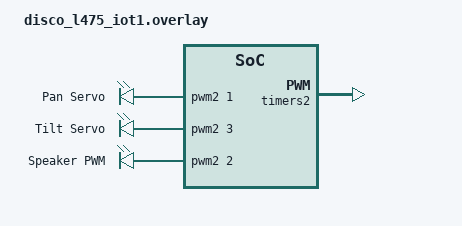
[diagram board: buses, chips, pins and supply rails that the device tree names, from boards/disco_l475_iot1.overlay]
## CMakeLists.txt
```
cmake_minimum_required(VERSION 3.20.0)
find_package(Zephyr REQUIRED HINTS $ENV{ZEPHYR_BASE})
project(csse4011Project)

# Collect all the source files in app/prac3/src
FILE(GLOB app_sources src/*.c)

# Collect all the source files in lib. Note that
# the path given needs to be relative to the
# CMakeLists root, which is app/project here,
# hence the ../../lib.c.
target_sources(app PRIVATE src/main.c)

# Tell CMake where our header files are
target_include_directories(app PRIVATE ../include)
```

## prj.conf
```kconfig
CONFIG_PWM=y
CONFIG_UART_CONSOLE=y
CONFIG_SERIAL=y
CONFIG_SHELL=y
CONFIG_SHELL_BACKEND_SERIAL=y
```

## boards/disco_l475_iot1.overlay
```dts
/ {
    aliases {
        servo-pan = &servo_pan;
        servo-tilt = &servo_tilt;
        speaker-out = &speaker_pwm;
    };

    pwmleds {
        compatible = "pwm-leds";
        status = "okay";

        servo_tilt: tilt_led {
            pwms = <&pwm2 1 PWM_MSEC(20) PWM_POLARITY_NORMAL>;  // PA15 = D9
            label = "Pan Servo";
        };

        servo_pan: pan_led {
            pwms = <&pwm2 3 PWM_MSEC(20) PWM_POLARITY_NORMAL>;  // PA2 = D10
            label = "Tilt Servo";
        };

        speaker_pwm: speaker_out {
            pwms = <&pwm2 2 PWM_USEC(1000) PWM_POLARITY_NORMAL>; // PA1 = D6
            label = "Speaker PWM";
        };
    };
};

&timers2 {
    st,prescaler = <10000>;
    status = "okay";

    pwm2: pwm {
        status = "okay";
        pinctrl-0 = <&tim2_ch1_pa15 &tim2_ch2_pa1 &tim2_ch3_pa2>;
        pinctrl-names = "default";
    };
};
```

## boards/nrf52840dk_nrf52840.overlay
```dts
/ {
    aliases {
        servo-pan = &servo_pan;
        servo-tilt = &servo_tilt;
        speaker-out = &speaker_pwm;
    };

    pwmleds {
        compatible = "pwm-leds";
        status = "okay";

        servo_pan: pan_led {
            pwms = <&pwm0 0 PWM_MSEC(20) PWM_POLARITY_NORMAL>; // P0.13
            label = "Pan Servo";
        };

        servo_tilt: tilt_led {
            pwms = <&pwm0 1 PWM_MSEC(20) PWM_POLARITY_NORMAL>; // P0.14
            label = "Tilt Servo";
        };

        speaker_pwm: speaker_out {
            pwms = <&pwm0 2 PWM_USEC(1000) PWM_POLARITY_NORMAL>; // P0.15
            label = "Speaker PWM";
        };
    };
};

&pwm0 {
    status = "okay";
    pinctrl-0 = <&pwm0_default>;
    pinctrl-1 = <&pwm0_sleep>;
    pinctrl-names = "default", "sleep";
};

&pinctrl {
    pwm0_default: pwm0_default {
        group1 {
            psels = <NRF_PSEL(PWM_OUT0, 0, 13)>,  // P0.13 = Pan
                    <NRF_PSEL(PWM_OUT1, 0, 14)>,  // P0.14 = Tilt
                    <NRF_PSEL(PWM_OUT2, 0, 15)>;  // P0.15 = Speaker
        };
    };

    pwm0_sleep: pwm0_sleep {
        group1 {
            /* No pins set during sleep mode (can leave empty) */
        };
    };
};
```

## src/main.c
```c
#include <zephyr/kernel.h>
#include <zephyr/device.h>
#include <zephyr/drivers/pwm.h>
#include <zephyr/devicetree.h>
#include <zephyr/init.h>
#include <zephyr/bluetooth/bluetooth.h>
#include <zephyr/bluetooth/hci.h>
#include <string.h>
#include <stdlib.h>
#include <math.h>
#include <zephyr/logging/log.h>

LOG_MODULE_REGISTER(nrf, LOG_LEVEL_INF);

#define PWM_PERIOD_USEC 20000

#define PAN_LEFT_USEC   2600
#define PAN_RIGHT_USEC  700
#define PAN_CENTER_USEC 1700

#define TILT_DOWN_USEC  500
#define TILT_UP_USEC    2000
#define TILT_CENTER_USEC 1000

static const struct pwm_dt_spec pan = PWM_DT_SPEC_GET(DT_ALIAS(servo_pan));
static const struct pwm_dt_spec tilt = PWM_DT_SPEC_GET(DT_ALIAS(servo_tilt));
static const struct pwm_dt_spec speaker = PWM_DT_SPEC_GET(DT_ALIAS(speaker_out));

#define STACK_SIZE 2048
#define PRIORITY 5

K_THREAD_STACK_DEFINE(bt_scan_stack, STACK_SIZE);
static struct k_thread bt_scan_thread_data;

struct bt_le_scan_param scan_param = {
    .type     = BT_HCI_LE_SCAN_PASSIVE,
    .options  = BT_LE_SCAN_OPT_NONE,
    .interval = 0x0010,
    .window   = 0x0010,
};

static bool ad_find_mfg(struct bt_data *data, void *user_data)
{
  char *mfg_buf = user_data;
  if (data->type == BT_DATA_MANUFACTURER_DATA) {
    size_t len = MIN(data->data_len, 15);
    memcpy(mfg_buf, data->data, len);
    mfg_buf[len] = '\0';
    return false;
  }
  return true;
}

void play_tone(uint32_t freq_hz, uint32_t duration_ms)
{
  if (!device_is_ready(speaker.dev)) {
    printk("Speaker PWM device not ready\n");
    return;
  }

  uint32_t period = USEC_PER_SEC / freq_hz;
  pwm_set(speaker.dev, speaker.channel, period, period / 2, 0);
  k_msleep(duration_ms);
  pwm_set(speaker.dev, speaker.channel, 0, 0, 0);  // Stop PWM
}

void handle_command(int cmd)
{
  switch (cmd) {
  case 0: // GO
    pwm_set(tilt.dev, tilt.channel, PWM_USEC(PWM_PERIOD_USEC), PWM_USEC(TILT_DOWN_USEC), 0);
    pwm_set(pan.dev, pan.channel, PWM_USEC(PWM_PERIOD_USEC), PWM_USEC(PAN_CENTER_USEC), 0);
//    play_tone(1000, 300);
    LOG_INF("[ACTION] GO");
    break;
  case 1: // STOP
    pwm_set(tilt.dev, tilt.channel, PWM_USEC(PWM_PERIOD_USEC), PWM_USEC(TILT_UP_USEC), 0);
    pwm_set(pan.dev, pan.channel, PWM_USEC(PWM_PERIOD_USEC), PWM_USEC(PAN_CENTER_USEC), 0);
//    play_tone(1000, 300);
    LOG_INF("[ACTION] STOP");
    break;
  case 2: // LEFT
    pwm_set(pan.dev, pan.channel, PWM_USEC(PWM_PERIOD_USEC), PWM_USEC(PAN_LEFT_USEC), 0);
    pwm_set(tilt.dev, tilt.channel, PWM_USEC(PWM_PERIOD_USEC), PWM_USEC(TILT_DOWN_USEC), 0);
//    play_tone(1000, 300);
    LOG_INF("[ACTION] LEFT");
    break;
  case 3: // RIGHT
    pwm_set(pan.dev, pan.channel, PWM_USEC(PWM_PERIOD_USEC), PWM_USEC(PAN_RIGHT_USEC), 0);
    pwm_set(tilt.dev, tilt.channel, PWM_USEC(PWM_PERIOD_USEC), PWM_USEC(TILT_DOWN_USEC), 0);
//    play_tone(1000, 300);
    LOG_INF("[ACTION] RIGHT");
    break;
  default:
    LOG_WRN("Unknown command received: %d", cmd);
    break;
  }
}

void scan_cb(const bt_addr_le_t *addr, int8_t rssi,
             uint8_t type, struct net_buf_simple *ad)
{
  char mfg_buf[16] = {0};
  bt_data_parse(ad, ad_find_mfg, mfg_buf);

  if (strncmp(mfg_buf, "B1:", 3) == 0) {
    int cmd = -1;
    int int_part = 0;
    int frac_part = 0;

    if (sscanf(mfg_buf + 3, "%d,%d.%d", &cmd, &int_part, &frac_part) == 3) {
      LOG_INF("Received B1 command: %d, value: %d.%02d", cmd, int_part, frac_part);
      handle_command(cmd);
    } else {
      LOG_WRN("Malformed B1 packet: %s", mfg_buf);
    }
  }
}

void bt_scan_thread_fn(void)
{
  int err = bt_le_scan_start(&scan_param, scan_cb);

  if (err && err != -EALREADY) {
    LOG_ERR("[NRF] Failed to start scan: %d", err);
  } else {
    LOG_INF("[NRF] Scan started.");
  }
}

void main(void)
{
  if (!device_is_ready(pan.dev) || !device_is_ready(tilt.dev)) {
    printk("Error: Servo device(s) not ready\n");
    return;
  }

  // Recenter servos on boot
  pwm_set(pan.dev, pan.channel, PWM_USEC(PWM_PERIOD_USEC), PWM_USEC(PAN_CENTER_USEC), 0);
  pwm_set(tilt.dev, tilt.channel, PWM_USEC(PWM_PERIOD_USEC), PWM_USEC(TILT_CENTER_USEC), 0);

  printk("Pan-tilt system ready. Waiting for Bluetooth packets...\n");

  int err = bt_enable(NULL);
  if (err) {
    LOG_ERR("Bluetooth init failed: %d", err);
    return;
  }

  k_thread_create(&bt_scan_thread_data, bt_scan_stack, STACK_SIZE,
                  (k_thread_entry_t)bt_scan_thread_fn,
                  NULL, NULL, NULL, PRIORITY, 0, K_NO_WAIT);
}
```
